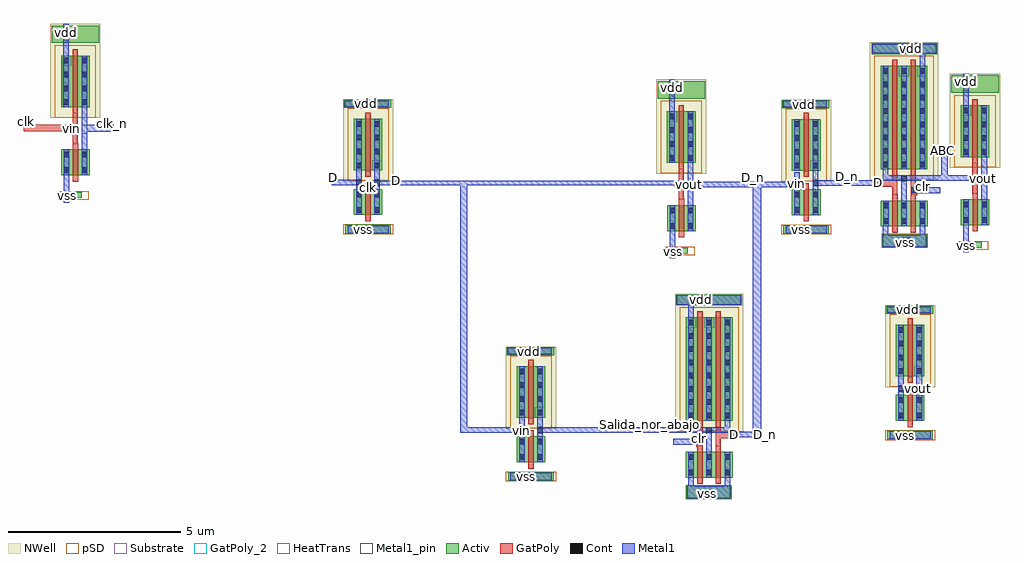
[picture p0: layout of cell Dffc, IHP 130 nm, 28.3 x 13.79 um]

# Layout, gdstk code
from math import pi, radians
import gdstk
lib = gdstk.Library(unit=1e-6, precision=1e-09)
def R(c, l, rs):  # rectangles x0, y0, x1, y1
    for r in rs: c.add(gdstk.rectangle(r[:2], r[2:], *l))
def A(c, l, x, y, w, h, nx, ny, dx, dy):  # array of equal rectangles
    R(c, l, [(x+i*dx, y+j*dy, x+i*dx+w, y+j*dy+h) for i in range(nx) for j in range(ny)])
def P(c, l, *ps):  # polygons
    for p in ps: c.add(gdstk.Polygon(p, *l))
Activ = (1, 0)
GatPoly = (5, 0)
GatPoly_2 = (5, 2)
Cont = (6, 0)
Metal1 = (8, 0)
Metal1_pin = (8, 2)
pSD = (14, 0)
NWell = (31, 0)
Substrate = (40, 0)
HeatTrans = (51, 0)

pmos_1_1 = lib.new_cell('pmos$1$1')
R(pmos_1_1, Activ, [(0,0,0.3,0.3), (0,0,0.83,3), (0.53,0,0.83,0.3)])
R(pmos_1_1, GatPoly, [(0.34,-0.18,0.49,3.18), (0.34,-0.18,0.49,3.18)])
A(pmos_1_1, Cont, 0.07, 0.07, 0.16, 0.16, 1, 7, 0, 0.385)
A(pmos_1_1, Cont, 0.6, 0.07, 0.16, 0.16, 1, 7, 0, 0.385)
R(pmos_1_1, Cont, [(0.07,2.77,0.23,2.93), (0.6,2.77,0.76,2.93)])
R(pmos_1_1, Metal1, [(0.07,0,0.23,3), (0.07,0,0.23,3), (0.6,0,0.76,3), (0.6,0,0.76,3)])
R(pmos_1_1, pSD, [(-0.18,-0.3,1.01,3.3)])
R(pmos_1_1, NWell, [(-0.31,-0.31,1.14,3.31)])
R(pmos_1_1, Substrate, [(0.53,0,0.83,0.3)])
R(pmos_1_1, HeatTrans, [(0.34,-0.18,0.49,3.18)])
pmos_1_1.add(gdstk.Label('pmos', (0.415,1.5), layer=63, texttype=0))
pmos_1_1.add(gdstk.Label('pmos', (0.415,1.5), layer=51, texttype=0))

nmos_1_1 = lib.new_cell('nmos$1$1')
R(nmos_1_1, Activ, [(0.002,0.22,0.302,0.52), (0.002,0.22,0.832,0.97), (0.532,0.22,0.832,0.52)])
R(nmos_1_1, GatPoly, [(0.342,0.04,0.492,1.15)])
R(nmos_1_1, GatPoly_2, [(0.342,0.04,0.492,1.15)])
R(nmos_1_1, Cont, [(0.072,0.29,0.232,0.45), (0.602,0.29,0.762,0.45), (0.072,0.74,0.232,0.9), (0.602,0.74,0.762,0.9)])
R(nmos_1_1, Metal1, [(0.072,0.22,0.232,0.97), (0.602,0.22,0.762,0.97)])
R(nmos_1_1, Metal1_pin, [(0.072,0.22,0.232,0.97), (0.602,0.22,0.762,0.97)])
R(nmos_1_1, HeatTrans, [(0.342,0.04,0.492,1.15)])
nmos_1_1.add(gdstk.Label('nmos', (0.417,0.595), layer=63, texttype=0))
nmos_1_1.add(gdstk.Label('nmos', (0.417,0.595), layer=51, texttype=0))

nmos_1_3 = lib.new_cell('nmos$1$3')
R(nmos_1_3, Activ, [(0,0,0.3,0.3), (0,0,0.83,0.75), (0.53,0,0.83,0.3)])
R(nmos_1_3, GatPoly, [(0.34,-0.18,0.49,0.93)])
R(nmos_1_3, GatPoly_2, [(0.34,-0.18,0.49,0.93)])
R(nmos_1_3, Cont, [(0.07,0.07,0.23,0.23), (0.6,0.07,0.76,0.23), (0.07,0.52,0.23,0.68), (0.6,0.52,0.76,0.68)])
R(nmos_1_3, Metal1, [(0.07,0,0.23,0.75), (0.6,0,0.76,0.75)])
R(nmos_1_3, Metal1_pin, [(0.07,0,0.23,0.75), (0.6,0,0.76,0.75)])
R(nmos_1_3, HeatTrans, [(0.34,-0.18,0.49,0.93)])
nmos_1_3.add(gdstk.Label('nmos', (0.415,0.375), layer=63, texttype=0))
nmos_1_3.add(gdstk.Label('nmos', (0.415,0.375), layer=51, texttype=0))

pmos_1_3 = lib.new_cell('pmos$1$3')
R(pmos_1_3, Activ, [(0,0,0.3,0.3), (0,0,0.83,1.5), (0.53,0,0.83,0.3)])
R(pmos_1_3, GatPoly, [(0.34,-0.18,0.49,1.68), (0.34,-0.18,0.49,1.68)])
A(pmos_1_3, Cont, 0.07, 0.07, 0.16, 0.16, 1, 4, 0, 0.4)
A(pmos_1_3, Cont, 0.6, 0.07, 0.16, 0.16, 1, 4, 0, 0.4)
R(pmos_1_3, Metal1, [(0.07,0,0.23,1.5), (0.07,0,0.23,1.5), (0.6,0,0.76,1.5), (0.6,0,0.76,1.5)])
R(pmos_1_3, pSD, [(-0.18,-0.3,1.01,1.8)])
R(pmos_1_3, NWell, [(-0.31,-0.31,1.14,1.81)])
R(pmos_1_3, Substrate, [(0.53,0,0.83,0.3)])
R(pmos_1_3, HeatTrans, [(0.34,-0.18,0.49,1.68)])
pmos_1_3.add(gdstk.Label('pmos', (0.415,0.75), layer=63, texttype=0))
pmos_1_3.add(gdstk.Label('pmos', (0.415,0.75), layer=51, texttype=0))

nmos_1_3_1 = lib.new_cell('nmos$1$3$1')
R(nmos_1_3_1, Activ, [(0,0,0.3,0.3), (0,0,0.83,0.75), (0.53,0,0.83,0.3)])
R(nmos_1_3_1, GatPoly, [(0.34,-0.18,0.49,0.93)])
R(nmos_1_3_1, GatPoly_2, [(0.34,-0.18,0.49,0.93)])
R(nmos_1_3_1, Cont, [(0.07,0.07,0.23,0.23), (0.6,0.07,0.76,0.23), (0.07,0.52,0.23,0.68), (0.6,0.52,0.76,0.68)])
R(nmos_1_3_1, Metal1, [(0.07,0,0.23,0.75), (0.6,0,0.76,0.75)])
R(nmos_1_3_1, Metal1_pin, [(0.07,0,0.23,0.75), (0.6,0,0.76,0.75)])
R(nmos_1_3_1, HeatTrans, [(0.34,-0.18,0.49,0.93)])
nmos_1_3_1.add(gdstk.Label('nmos', (0.415,0.375), layer=63, texttype=0))
nmos_1_3_1.add(gdstk.Label('nmos', (0.415,0.375), layer=51, texttype=0))

pmos_1_3_1 = lib.new_cell('pmos$1$3$1')
R(pmos_1_3_1, Activ, [(0,0,0.3,0.3), (0,0,0.83,1.5), (0.53,0,0.83,0.3)])
R(pmos_1_3_1, GatPoly, [(0.34,-0.18,0.49,1.68), (0.34,-0.18,0.49,1.68)])
A(pmos_1_3_1, Cont, 0.07, 0.07, 0.16, 0.16, 1, 4, 0, 0.4)
A(pmos_1_3_1, Cont, 0.6, 0.07, 0.16, 0.16, 1, 4, 0, 0.4)
R(pmos_1_3_1, Metal1, [(0.07,0,0.23,1.5), (0.07,0,0.23,1.5), (0.6,0,0.76,1.5), (0.6,0,0.76,1.5)])
R(pmos_1_3_1, pSD, [(-0.18,-0.3,1.01,1.8)])
R(pmos_1_3_1, NWell, [(-0.31,-0.31,1.14,1.81)])
R(pmos_1_3_1, Substrate, [(0.53,0,0.83,0.3)])
R(pmos_1_3_1, HeatTrans, [(0.34,-0.18,0.49,1.68)])
pmos_1_3_1.add(gdstk.Label('pmos', (0.415,0.75), layer=63, texttype=0))
pmos_1_3_1.add(gdstk.Label('pmos', (0.415,0.75), layer=51, texttype=0))

nmos_1_3_1_1 = lib.new_cell('nmos$1$3$1$1')
R(nmos_1_3_1_1, Activ, [(5.014,-1.666,5.314,-1.366), (5.014,-1.666,5.844,-0.916), (5.544,-1.666,5.844,-1.366)])
R(nmos_1_3_1_1, GatPoly, [(5.354,-1.846,5.504,-0.736)])
R(nmos_1_3_1_1, GatPoly_2, [(5.354,-1.846,5.504,-0.736)])
R(nmos_1_3_1_1, Cont, [(5.084,-1.596,5.244,-1.436), (5.614,-1.596,5.774,-1.436), (5.084,-1.146,5.244,-0.986), (5.614,-1.146,5.774,-0.986)])
R(nmos_1_3_1_1, Metal1, [(5.084,-1.666,5.244,-0.916), (5.614,-1.666,5.774,-0.916)])
R(nmos_1_3_1_1, Metal1_pin, [(5.084,-1.666,5.244,-0.916), (5.614,-1.666,5.774,-0.916)])
R(nmos_1_3_1_1, HeatTrans, [(5.354,-1.846,5.504,-0.736)])
nmos_1_3_1_1.add(gdstk.Label('nmos', (5.429,-1.291), layer=63, texttype=0))
nmos_1_3_1_1.add(gdstk.Label('nmos', (5.429,-1.291), layer=51, texttype=0))

pmos_1_3_1_1 = lib.new_cell('pmos$1$3$1$1')
R(pmos_1_3_1_1, Activ, [(5.014,-1.666,5.314,-1.366), (5.014,-1.666,5.844,-0.166), (5.544,-1.666,5.844,-1.366)])
R(pmos_1_3_1_1, GatPoly, [(5.354,-1.846,5.504,0.014), (5.354,-1.846,5.504,0.014)])
A(pmos_1_3_1_1, Cont, 5.084, -1.596, 0.16, 0.16, 1, 4, 0, 0.4)
A(pmos_1_3_1_1, Cont, 5.614, -1.596, 0.16, 0.16, 1, 4, 0, 0.4)
R(pmos_1_3_1_1, Metal1, [(5.084,-1.666,5.244,-0.166), (5.084,-1.666,5.244,-0.166), (5.614,-1.666,5.774,-0.166), (5.614,-1.666,5.774,-0.166)])
R(pmos_1_3_1_1, pSD, [(4.834,-1.966,6.024,0.134)])
R(pmos_1_3_1_1, NWell, [(4.704,-1.976,6.154,0.144)])
R(pmos_1_3_1_1, Substrate, [(5.544,-1.666,5.844,-1.366)])
R(pmos_1_3_1_1, HeatTrans, [(5.354,-1.846,5.504,0.014)])
pmos_1_3_1_1.add(gdstk.Label('pmos', (5.429,-0.916), layer=63, texttype=0))
pmos_1_3_1_1.add(gdstk.Label('pmos', (5.429,-0.916), layer=51, texttype=0))

nmos_3_1_1 = lib.new_cell('nmos$3$1$1')
R(nmos_3_1_1, Activ, [(0.576,-19.215,0.876,-18.915), (0.576,-19.215,1.406,-18.465), (1.106,-19.215,1.406,-18.915)])
R(nmos_3_1_1, GatPoly, [(0.916,-19.395,1.066,-18.285)])
R(nmos_3_1_1, GatPoly_2, [(0.916,-19.395,1.066,-18.285)])
R(nmos_3_1_1, Cont, [(0.646,-19.145,0.806,-18.985), (1.176,-19.145,1.336,-18.985), (0.646,-18.695,0.806,-18.535), (1.176,-18.695,1.336,-18.535)])
R(nmos_3_1_1, Metal1, [(0.646,-19.215,0.806,-18.465), (1.176,-19.215,1.336,-18.465)])
R(nmos_3_1_1, Metal1_pin, [(0.646,-19.215,0.806,-18.465), (1.176,-19.215,1.336,-18.465)])
R(nmos_3_1_1, HeatTrans, [(0.916,-19.395,1.066,-18.285)])
nmos_3_1_1.add(gdstk.Label('nmos', (0.991,-18.84), layer=63, texttype=0))
nmos_3_1_1.add(gdstk.Label('nmos', (0.991,-18.84), layer=51, texttype=0))

pmos_3_1_1 = lib.new_cell('pmos$3$1$1')
R(pmos_3_1_1, Activ, [(0.576,-19.215,0.876,-18.915), (0.576,-19.215,1.406,-17.715), (1.106,-19.215,1.406,-18.915)])
R(pmos_3_1_1, GatPoly, [(0.916,-19.395,1.066,-17.535), (0.916,-19.395,1.066,-17.535)])
A(pmos_3_1_1, Cont, 0.646, -19.145, 0.16, 0.16, 1, 4, 0, 0.4)
A(pmos_3_1_1, Cont, 1.176, -19.145, 0.16, 0.16, 1, 4, 0, 0.4)
R(pmos_3_1_1, Metal1, [(0.646,-19.215,0.806,-17.715), (0.646,-19.215,0.806,-17.715), (1.176,-19.215,1.336,-17.715), (1.176,-19.215,1.336,-17.715)])
R(pmos_3_1_1, pSD, [(0.396,-19.515,1.586,-17.415)])
R(pmos_3_1_1, NWell, [(0.266,-19.525,1.716,-17.405)])
R(pmos_3_1_1, Substrate, [(1.106,-19.215,1.406,-18.915)])
R(pmos_3_1_1, HeatTrans, [(0.916,-19.395,1.066,-17.535)])
pmos_3_1_1.add(gdstk.Label('pmos', (0.991,-18.465), layer=63, texttype=0))
pmos_3_1_1.add(gdstk.Label('pmos', (0.991,-18.465), layer=51, texttype=0))

nmos_3_1_1_1 = lib.new_cell('nmos$3$1$1$1')
R(nmos_3_1_1_1, Activ, [(-6.16,-0.009,-5.86,0.291), (-6.16,-0.009,-5.33,0.741), (-5.63,-0.009,-5.33,0.291)])
R(nmos_3_1_1_1, GatPoly, [(-5.82,-0.189,-5.67,0.921)])
R(nmos_3_1_1_1, GatPoly_2, [(-5.82,-0.189,-5.67,0.921)])
R(nmos_3_1_1_1, Cont, [(-6.09,0.061,-5.93,0.221), (-5.56,0.061,-5.4,0.221), (-6.09,0.511,-5.93,0.671), (-5.56,0.511,-5.4,0.671)])
R(nmos_3_1_1_1, Metal1, [(-6.09,-0.009,-5.93,0.741), (-5.56,-0.009,-5.4,0.741)])
R(nmos_3_1_1_1, Metal1_pin, [(-6.09,-0.009,-5.93,0.741), (-5.56,-0.009,-5.4,0.741)])
R(nmos_3_1_1_1, HeatTrans, [(-5.82,-0.189,-5.67,0.921)])
nmos_3_1_1_1.add(gdstk.Label('nmos', (-5.745,0.366), layer=63, texttype=0))
nmos_3_1_1_1.add(gdstk.Label('nmos', (-5.745,0.366), layer=51, texttype=0))

pmos_3_1_1_1 = lib.new_cell('pmos$3$1$1$1')
R(pmos_3_1_1_1, Activ, [(-6.16,-0.009,-5.86,0.291), (-6.16,-0.009,-5.33,1.491), (-5.63,-0.009,-5.33,0.291)])
R(pmos_3_1_1_1, GatPoly, [(-5.82,-0.189,-5.67,1.671), (-5.82,-0.189,-5.67,1.671)])
A(pmos_3_1_1_1, Cont, -6.09, 0.061, 0.16, 0.16, 1, 4, 0, 0.4)
A(pmos_3_1_1_1, Cont, -5.56, 0.061, 0.16, 0.16, 1, 4, 0, 0.4)
R(pmos_3_1_1_1, Metal1, [(-6.09,-0.009,-5.93,1.491), (-6.09,-0.009,-5.93,1.491), (-5.56,-0.009,-5.4,1.491), (-5.56,-0.009,-5.4,1.491)])
R(pmos_3_1_1_1, pSD, [(-6.34,-0.309,-5.15,1.791)])
R(pmos_3_1_1_1, NWell, [(-6.47,-0.319,-5.02,1.801)])
R(pmos_3_1_1_1, Substrate, [(-5.63,-0.009,-5.33,0.291)])
R(pmos_3_1_1_1, HeatTrans, [(-5.82,-0.189,-5.67,1.671)])
pmos_3_1_1_1.add(gdstk.Label('pmos', (-5.745,0.741), layer=63, texttype=0))
pmos_3_1_1_1.add(gdstk.Label('pmos', (-5.745,0.741), layer=51, texttype=0))

pmos_3 = lib.new_cell('pmos$3')
R(pmos_3, Activ, [(0,0,0.3,0.3), (0,0,0.83,1.5), (0.53,0,0.83,0.3)])
R(pmos_3, GatPoly, [(0.34,-0.18,0.49,1.68), (0.34,-0.18,0.49,1.68)])
A(pmos_3, Cont, 0.07, 0.07, 0.16, 0.16, 1, 4, 0, 0.4)
A(pmos_3, Cont, 0.6, 0.07, 0.16, 0.16, 1, 4, 0, 0.4)
R(pmos_3, Metal1, [(0.07,0,0.23,1.5), (0.07,0,0.23,1.5), (0.6,0,0.76,1.5), (0.6,0,0.76,1.5)])
R(pmos_3, pSD, [(-0.18,-0.3,1.01,1.8)])
R(pmos_3, NWell, [(-0.31,-0.31,1.14,1.81)])
R(pmos_3, Substrate, [(0.53,0,0.83,0.3)])
R(pmos_3, HeatTrans, [(0.34,-0.18,0.49,1.68)])
pmos_3.add(gdstk.Label('pmos', (0.415,0.75), layer=63, texttype=0))
pmos_3.add(gdstk.Label('pmos', (0.415,0.75), layer=51, texttype=0))

nmos_3 = lib.new_cell('nmos$3')
R(nmos_3, Activ, [(0,0,0.3,0.3), (0,0,0.83,0.75), (0.53,0,0.83,0.3)])
R(nmos_3, GatPoly, [(0.34,-0.18,0.49,0.93)])
R(nmos_3, GatPoly_2, [(0.34,-0.18,0.49,0.93)])
R(nmos_3, Cont, [(0.07,0.07,0.23,0.23), (0.6,0.07,0.76,0.23), (0.07,0.52,0.23,0.68), (0.6,0.52,0.76,0.68)])
R(nmos_3, Metal1, [(0.07,0,0.23,0.75), (0.6,0,0.76,0.75)])
R(nmos_3, Metal1_pin, [(0.07,0,0.23,0.75), (0.6,0,0.76,0.75)])
R(nmos_3, HeatTrans, [(0.34,-0.18,0.49,0.93)])
nmos_3.add(gdstk.Label('nmos', (0.415,0.375), layer=63, texttype=0))
nmos_3.add(gdstk.Label('nmos', (0.415,0.375), layer=51, texttype=0))

pmos_3_1 = lib.new_cell('pmos$3$1')
R(pmos_3_1, Activ, [(-10.251,-14.771,-9.951,-14.471), (-10.251,-14.771,-9.421,-13.271), (-9.721,-14.771,-9.421,-14.471)])
R(pmos_3_1, GatPoly, [(-9.911,-14.951,-9.761,-13.091), (-9.911,-14.951,-9.761,-13.091)])
A(pmos_3_1, Cont, -10.181, -14.701, 0.16, 0.16, 1, 4, 0, 0.4)
A(pmos_3_1, Cont, -9.651, -14.701, 0.16, 0.16, 1, 4, 0, 0.4)
R(pmos_3_1, Metal1, [(-10.181,-14.771,-10.021,-13.271), (-10.181,-14.771,-10.021,-13.271), (-9.651,-14.771,-9.491,-13.271), (-9.651,-14.771,-9.491,-13.271)])
R(pmos_3_1, pSD, [(-10.431,-15.071,-9.241,-12.971)])
R(pmos_3_1, NWell, [(-10.561,-15.081,-9.111,-12.961)])
R(pmos_3_1, Substrate, [(-9.721,-14.771,-9.421,-14.471)])
R(pmos_3_1, HeatTrans, [(-9.911,-14.951,-9.761,-13.091)])
pmos_3_1.add(gdstk.Label('pmos', (-9.836,-14.021), layer=63, texttype=0))
pmos_3_1.add(gdstk.Label('pmos', (-9.836,-14.021), layer=51, texttype=0))

nmos_3_1 = lib.new_cell('nmos$3$1')
R(nmos_3_1, Activ, [(-10.251,-14.771,-9.951,-14.471), (-10.251,-14.771,-9.421,-14.021), (-9.721,-14.771,-9.421,-14.471)])
R(nmos_3_1, GatPoly, [(-9.911,-14.951,-9.761,-13.841)])
R(nmos_3_1, GatPoly_2, [(-9.911,-14.951,-9.761,-13.841)])
R(nmos_3_1, Cont, [(-10.181,-14.701,-10.021,-14.541), (-9.651,-14.701,-9.491,-14.541), (-10.181,-14.251,-10.021,-14.091), (-9.651,-14.251,-9.491,-14.091)])
R(nmos_3_1, Metal1, [(-10.181,-14.771,-10.021,-14.021), (-9.651,-14.771,-9.491,-14.021)])
R(nmos_3_1, Metal1_pin, [(-10.181,-14.771,-10.021,-14.021), (-9.651,-14.771,-9.491,-14.021)])
R(nmos_3_1, HeatTrans, [(-9.911,-14.951,-9.761,-13.841)])
nmos_3_1.add(gdstk.Label('nmos', (-9.836,-14.396), layer=63, texttype=0))
nmos_3_1.add(gdstk.Label('nmos', (-9.836,-14.396), layer=51, texttype=0))

nmos_1_1_1 = lib.new_cell('nmos$1$1$1')

pmos_1_1_1 = lib.new_cell('pmos$1$1$1')

nmos_1_1_3 = lib.new_cell('nmos$1$1$3')
R(nmos_1_1_3, Activ, [(0.002,0.22,0.302,0.52), (0.002,0.22,0.832,0.97), (0.532,0.22,0.832,0.52)])
R(nmos_1_1_3, GatPoly, [(0.342,0.04,0.492,1.15)])
R(nmos_1_1_3, GatPoly_2, [(0.342,0.04,0.492,1.15)])
R(nmos_1_1_3, Cont, [(0.072,0.29,0.232,0.45), (0.602,0.29,0.762,0.45), (0.072,0.74,0.232,0.9), (0.602,0.74,0.762,0.9)])
R(nmos_1_1_3, Metal1, [(0.072,0.22,0.232,0.97), (0.602,0.22,0.762,0.97)])
R(nmos_1_1_3, Metal1_pin, [(0.072,0.22,0.232,0.97), (0.602,0.22,0.762,0.97)])
R(nmos_1_1_3, HeatTrans, [(0.342,0.04,0.492,1.15)])
nmos_1_1_3.add(gdstk.Label('nmos', (0.417,0.595), layer=63, texttype=0))
nmos_1_1_3.add(gdstk.Label('nmos', (0.417,0.595), layer=51, texttype=0))

pmos_1_1_3 = lib.new_cell('pmos$1$1$3')
R(pmos_1_1_3, Activ, [(0,0,0.3,0.3), (0,0,0.83,3), (0.53,0,0.83,0.3)])
R(pmos_1_1_3, GatPoly, [(0.34,-0.18,0.49,3.18), (0.34,-0.18,0.49,3.18)])
A(pmos_1_1_3, Cont, 0.07, 0.07, 0.16, 0.16, 1, 7, 0, 0.385)
A(pmos_1_1_3, Cont, 0.6, 0.07, 0.16, 0.16, 1, 7, 0, 0.385)
R(pmos_1_1_3, Cont, [(0.07,2.77,0.23,2.93), (0.6,2.77,0.76,2.93)])
R(pmos_1_1_3, Metal1, [(0.07,0,0.23,3), (0.07,0,0.23,3), (0.6,0,0.76,3), (0.6,0,0.76,3)])
R(pmos_1_1_3, pSD, [(-0.18,-0.3,1.01,3.3)])
R(pmos_1_1_3, NWell, [(-0.31,-0.31,1.14,3.31)])
R(pmos_1_1_3, Substrate, [(0.53,0,0.83,0.3)])
R(pmos_1_1_3, HeatTrans, [(0.34,-0.18,0.49,3.18)])
pmos_1_1_3.add(gdstk.Label('pmos', (0.415,1.5), layer=63, texttype=0))
pmos_1_1_3.add(gdstk.Label('pmos', (0.415,1.5), layer=51, texttype=0))

dffc = lib.new_cell('Dffc')
R(dffc, Activ, [(-4.16,-3.948,-2.875,-3.583), (-9.327,-3.438,-8.012,-3.183), (1.665,-2.236,2.98,-1.981), (-9.367,0.212,-7.992,0.442), (1.625,1.414,3,1.644), (-4.461,1.649,-2.561,1.964), (-4.754,3.152,-4.119,3.322), (3.761,3.321,4.396,3.491), (1.522,3.341,2.807,3.706), (-1.348,3.725,-0.033,3.98), (-14.051,3.733,-12.736,3.988), (-22.323,4.767,-21.688,4.937), (-1.388,7.375,-0.013,7.605), (-14.091,7.383,-12.716,7.613), (-4.999,7.647,-3.614,8.152), (3.516,7.816,4.901,8.321), (1.208,8.938,3.108,9.253), (-22.568,9.262,-21.183,9.767)])
R(dffc, GatPoly, [(-4.384,4.712,-4.234,5.602), (4.131,4.881,4.281,5.771), (-4.494,5.092,-4.324,5.262), (4.021,5.261,4.191,5.431)])
P(dffc, GatPoly, [(2.339,4.848),(2.339,4.868),(2.338,4.868),(2.338,5.413),(2.488,5.413),(2.488,5.283),(2.493,5.283),(2.493,5.096),(2.528,5.096),(2.528,4.848)],
  [(1.809,4.861),(1.809,5.093),(1.338,5.093),(1.338,5.283),(1.808,5.283),(1.808,5.413),(1.958,5.413),(1.958,5.111),(1.959,5.111),(1.959,4.861)],
  [(-21.953,6.327),(-21.953,6.704),(-23.367,6.704),(-23.367,6.894),(-21.953,6.894),(-21.953,7.217),(-21.803,7.217),(-21.803,6.327)],
  [(-3.312,-2.428),(-3.312,-2.178),(-3.311,-2.178),(-3.311,-1.876),(-3.161,-1.876),(-3.161,-2.006),(-2.691,-2.006),(-2.691,-2.196),(-3.162,-2.196),(-3.162,-2.428)],
  [(-3.881,-2.441),(-3.881,-2.193),(-3.846,-2.193),(-3.846,-2.006),(-3.841,-2.006),(-3.841,-1.876),(-3.691,-1.876),(-3.691,-2.421),(-3.692,-2.421),(-3.692,-2.441)])
R(dffc, GatPoly_2, [(-3.876,-2.421,-3.695,-2.198), (-2.862,-2.176,-2.702,-2.016), (-8.742,-2.118,-8.592,-1.973), (-8.742,-1.788,-8.592,-1.623), (2.25,-0.916,2.4,-0.771), (2.25,-0.586,2.4,-0.421), (2.342,4.868,2.523,5.091), (-0.763,5.045,-0.613,5.19), (-13.466,5.053,-13.316,5.198), (1.344,5.113,1.504,5.273), (-0.763,5.375,-0.613,5.54), (-13.466,5.383,-13.316,5.548)])
R(dffc, Cont, [(-3.675,-3.888,-3.465,-3.683), (-8.882,-3.393,-8.717,-3.233), (-3.867,-2.378,-3.707,-2.218), (2.11,-2.191,2.275,-2.031), (-2.862,-2.176,-2.702,-2.016), (-9.012,-2.038,-8.852,-1.878), (-8.482,-2.038,-8.322,-1.878), (-3.581,-2.036,-3.421,-1.876), (1.98,-0.836,2.14,-0.676), (2.51,-0.836,2.67,-0.676), (-8.802,0.247,-8.642,0.407), (2.19,1.449,2.35,1.609), (-3.786,1.744,-3.626,1.904), (-4.644,3.152,-4.484,3.312), (3.871,3.321,4.031,3.481), (2.112,3.401,2.322,3.606), (-0.903,3.77,-0.738,3.93), (-13.606,3.778,-13.441,3.938), (-22.213,4.767,-22.053,4.927), (2.354,4.911,2.514,5.071), (-4.484,5.097,-4.324,5.257), (1.345,5.115,1.505,5.275), (-1.033,5.125,-0.873,5.285), (-0.503,5.125,-0.343,5.285), (-13.736,5.133,-13.576,5.293), (-13.206,5.133,-13.046,5.293), (2.068,5.253,2.228,5.413), (4.031,5.266,4.191,5.426), (-22.053,6.712,-21.893,6.872), (-0.823,7.41,-0.663,7.57), (-13.526,7.418,-13.366,7.578), (-4.654,7.827,-4.494,7.987), (3.861,7.996,4.021,8.156), (2.273,9.033,2.433,9.193), (-22.223,9.442,-22.063,9.602)])
R(dffc, Metal1, [(-9.262,-3.423,-8.072,-3.203), (-4.549,-2.387,-3.706,-2.217), (1.73,-2.221,2.92,-2.001), (-8.482,-2.163,-8.322,-1.593), (1.98,-0.971,2.14,-0.406), (2.51,-0.961,2.67,-0.391), (-9.337,0.237,-8.072,0.417), (1.655,1.439,2.92,1.619), (-4.649,3.017,-4.489,3.807), (3.866,3.186,4.026,3.976), (-1.283,3.74,-0.093,3.96), (-13.986,3.748,-12.796,3.968), (-22.218,4.632,-22.058,5.422), (4.391,4.701,4.556,5.951), (2.353,4.902,3.196,5.072), (-4.489,5.092,-4.319,5.262), (-22.058,6.707,-21.888,6.877), (-4.654,7.282,-4.494,8.197), (-1.358,7.4,-0.093,7.58), (-14.061,7.408,-12.796,7.588), (3.861,7.451,4.021,8.366), (-22.223,8.897,-22.063,9.812)])
P(dffc, Metal1, [(2.064,4.667),(2.064,5.266),(1.534,5.266),(1.534,5.641),(1.694,5.641),(1.694,5.427),(2.101,5.427),(2.101,5.426),(3.226,5.426),(3.226,6.056),(3.413,6.056),(3.413,5.426),(4.026,5.426),(4.026,5.431),(4.196,5.431),(4.196,5.261),(4.026,5.261),(4.026,5.266),(2.226,5.266),(2.226,4.667)],
  [(-0.503,4.99),(-0.503,5.56),(-0.343,5.56),(-0.343,5.275),(1.506,5.275),(1.506,5.114),(0.73,5.114),(-0.343,5.114),(-0.343,4.99)],
  [(2.598,8.593),(2.598,8.958),(1.228,8.958),(1.228,9.228),(3.088,9.228),(3.088,8.958),(2.758,8.958),(2.758,8.593)],
  [(1.537,3.356),(1.537,3.956),(1.697,3.956),(1.697,3.691),(2.597,3.691),(2.597,3.956),(2.757,3.956),(2.757,3.691),(2.787,3.691),(2.787,3.356)],
  [(-3.581,-2.614),(-3.581,-2.036),(-8.482,-2.036),(-8.482,-1.876),(-3.051,-1.876),(-3.051,-1.696),(-2.891,-1.696),(-2.891,-2.036),(-3.421,-2.036),(-3.421,-2.614)],
  [(-9.012,-2.173),(-9.012,-2.042),(-10.722,-2.042),(-10.722,5.131),(-13.046,5.131),(-13.046,4.977),(-13.206,4.977),(-13.206,5.602),(-13.046,5.602),(-13.046,5.262),(-4.319,5.262),(-4.319,5.131),(-10.511,5.131),(-10.511,-1.877),(-9.012,-1.877),(-9.012,-1.608),(-8.852,-1.608),(-8.852,-2.173)],
  [(-21.693,6.147),(-21.693,7.397),(-21.528,7.397),(-21.528,6.887),(-20.767,6.887),(-20.767,6.685),(-21.528,6.685),(-21.528,6.147)],
  [(-13.736,4.998),(-13.736,5.133),(-14.441,5.133),(-14.441,5.292),(-13.736,5.292),(-13.736,5.563),(-13.576,5.563),(-13.576,4.998)],
  [(-4.14,-3.933),(-4.14,-3.598),(-4.11,-3.598),(-4.11,-3.333),(-3.95,-3.333),(-3.95,-3.598),(-3.05,-3.598),(-3.05,-3.333),(-2.89,-3.333),(-2.89,-3.933)],
  [(-2.862,-2.176),(-2.862,-2.016),(-2.235,-2.016),(-2.235,5.083),(-3.959,5.083),(-3.959,4.532),(-4.124,4.532),(-4.124,5.782),(-3.959,5.782),(-3.959,5.244),(-1.033,5.244),(-1.033,5.515),(-0.873,5.515),(-0.873,4.95),(-1.033,4.95),(-1.033,5.083),(-1.988,5.083),(-1.988,-2.176)],
  [(-4.111,1.304),(-4.111,1.669),(-4.441,1.669),(-4.441,1.939),(-2.581,1.939),(-2.581,1.669),(-3.951,1.669),(-3.951,1.304)],
  [(-4.649,3.807),(-4.649,3.807),(-4.489,3.807),(-4.489,3.807)],
  [(3.866,3.976),(3.866,3.976),(4.026,3.976),(4.026,3.976)],
  [(-22.218,5.422),(-22.218,5.422),(-22.058,5.422),(-22.058,5.422)])
R(dffc, Metal1_pin, [(-3.675,-3.888,-3.465,-3.683), (-8.882,-3.393,-8.717,-3.233), (2.11,-2.191,2.275,-2.031), (-9.012,-2.073,-8.852,-1.863), (-8.482,-2.063,-8.322,-1.863), (-3.581,-2.036,-3.421,-1.876), (1.98,-0.871,2.14,-0.661), (2.51,-0.861,2.67,-0.661), (-8.802,0.247,-8.642,0.407), (2.19,1.449,2.35,1.609), (-3.786,1.749,-3.626,1.904), (-4.649,3.147,-4.489,3.322), (3.866,3.316,4.026,3.491), (2.112,3.401,2.322,3.606), (-0.903,3.77,-0.738,3.93), (-13.606,3.778,-13.441,3.938), (-22.218,4.762,-22.058,4.937), (-4.124,5.017,-3.959,5.272), (-1.033,5.09,-0.873,5.3), (-13.736,5.098,-13.576,5.308), (-0.503,5.1,-0.343,5.3), (-13.206,5.108,-13.046,5.308), (4.391,5.186,4.556,5.441), (2.068,5.253,2.228,5.413), (-21.693,6.632,-21.528,6.887), (-0.823,7.41,-0.663,7.57), (-13.526,7.418,-13.366,7.578), (-4.654,7.712,-4.494,8.117), (3.861,7.881,4.021,8.286), (2.273,9.038,2.433,9.193), (-22.223,9.327,-22.063,9.732)])
R(dffc, pSD, [(-4.185,-3.968,-2.85,-3.563), (-9.392,-3.453,-7.942,-3.173), (1.6,-2.251,3.05,-1.971), (-4.779,3.102,-3.919,3.347), (3.736,3.271,4.596,3.516), (1.497,3.321,2.832,3.726), (-1.413,3.71,0.037,3.99), (-14.116,3.718,-12.666,3.998), (-22.348,4.717,-21.488,4.962)])
R(dffc, NWell, [(-9.392,0.202,-7.942,0.457), (1.6,1.404,3.05,1.659), (-4.491,1.614,-2.511,1.989), (-1.413,7.365,0.037,7.62), (-14.116,7.373,-12.666,7.628), (-5.034,7.592,-3.584,8.202), (3.481,7.761,4.931,8.371), (1.158,8.903,3.138,9.278), (-22.603,9.207,-21.153,9.817)])
dffc.add(gdstk.Reference(pmos_1_1, (-2.821,1.304), rotation=pi))
dffc.add(gdstk.Reference(nmos_1_1, (-2.821,-2.376), rotation=pi))
dffc.add(gdstk.Reference(pmos_1_1, (-3.351,1.304), rotation=pi))
dffc.add(gdstk.Reference(nmos_1_3, (-3.889,4.557), rotation=pi))
dffc.add(gdstk.Reference(pmos_1_3, (-3.894,7.282), rotation=pi))
dffc.add(gdstk.Reference(nmos_1_3_1, (4.626,4.726), rotation=pi))
dffc.add(gdstk.Reference(pmos_1_3_1, (4.621,7.451), rotation=pi))
dffc.add(gdstk.Reference(nmos_1_3_1_1, (-16.444,4.506), rotation=pi))
dffc.add(gdstk.Reference(pmos_1_3_1_1, (-16.449,7.231), rotation=pi))
dffc.add(gdstk.Reference(nmos_3_1_1, (1.334,17.519)))
dffc.add(gdstk.Reference(pmos_3_1_1, (1.334,18.809)))
dffc.add(gdstk.Reference(nmos_3_1_1_1, (-7.646,4.282)))
dffc.add(gdstk.Reference(pmos_3_1_1_1, (-7.646,5.572)))
dffc.add(gdstk.Reference(pmos_3, (-1.103,5.555)))
dffc.add(gdstk.Reference(nmos_3, (-1.103,4.265)))
dffc.add(gdstk.Reference(nmos_1_1, (-3.351,-2.376), rotation=pi))
dffc.add(gdstk.Reference(pmos_3_1, (1.169,13.163)))
dffc.add(gdstk.Reference(nmos_3_1, (1.169,11.873)))
dffc.add(gdstk.Reference(nmos_1_1_1, (0.714,4.402), x_reflection=True))
dffc.add(gdstk.Reference(pmos_1_1_1, (0.714,8.082), x_reflection=True))
dffc.add(gdstk.Reference(nmos_1_1_3, (1.998,4.913), x_reflection=True))
dffc.add(gdstk.Reference(pmos_1_1_3, (1.998,8.593), x_reflection=True))
dffc.add(gdstk.Reference(nmos_1_1_3, (1.468,4.913), x_reflection=True))
dffc.add(gdstk.Reference(pmos_1_1_3, (1.468,8.593), x_reflection=True))
dffc.add(gdstk.Label('clr', (2.72,5.099), layer=63, texttype=0))
dffc.add(gdstk.Label('Salida_nor_abajo', (3.87,5.497), layer=63, texttype=0))
dffc.add(gdstk.Label('ABC', (3.25,6.135), layer=63, texttype=0))
dffc.add(gdstk.Label('D', (-14.392,5.347), layer=63, texttype=0))
dffc.add(gdstk.Label('D', (-12.581,5.286), layer=63, texttype=0))
dffc.add(gdstk.Label('clk', (-13.378,5.078), layer=63, texttype=0))
dffc.add(gdstk.Label('clk_n', (-13.388,5.436), layer=63, texttype=0))
dffc.add(gdstk.Label('clk', (-23.293,6.991), layer=63, texttype=0))
dffc.add(gdstk.Label('clk_n', (-20.807,6.921), layer=63, texttype=0))
dffc.add(gdstk.Label('Salida_nor_abajo', (-5.223,-1.797), layer=63, texttype=0))
dffc.add(gdstk.Label('D_n', (-1.861,-2.092), layer=63, texttype=0))
dffc.add(gdstk.Label('clr', (-4.073,-2.19), layer=63, texttype=0))
dffc.add(gdstk.Label('D_n', (-2.225,5.36), layer=63, texttype=0))
dffc.add(gdstk.Label('D_n', (0.507,5.396), layer=63, texttype=0))
dffc.add(gdstk.Label('vout', (2.58,-0.766), layer=8, texttype=2))
dffc.add(gdstk.Label('vin', (2.05,-0.781), layer=8, texttype=2))
dffc.add(gdstk.Label('vss', (2.2,-2.111), layer=8, texttype=2))
dffc.add(gdstk.Label('vdd', (2.28,1.529), layer=8, texttype=2))
dffc.add(gdstk.Label('vdd', (2.363,9.108), layer=8, texttype=2))
dffc.add(gdstk.Label('out', (2.168,5.283), layer=8, texttype=2))
dffc.add(gdstk.Label('vss', (2.202,3.476), layer=8, texttype=2))
dffc.add(gdstk.Label('vout', (-13.136,5.203), layer=8, texttype=2))
dffc.add(gdstk.Label('vin', (-13.666,5.188), layer=8, texttype=2))
dffc.add(gdstk.Label('vss', (-13.516,3.858), layer=8, texttype=2))
dffc.add(gdstk.Label('vdd', (-13.436,7.498), layer=8, texttype=2))
dffc.add(gdstk.Label('vdd', (-8.712,0.327), layer=8, texttype=2))
dffc.add(gdstk.Label('vss', (-8.792,-3.313), layer=8, texttype=2))
dffc.add(gdstk.Label('vin', (-8.942,-1.983), layer=8, texttype=2))
dffc.add(gdstk.Label('vout', (-8.412,-1.968), layer=8, texttype=2))
dffc.add(gdstk.Label('vout', (-21.643,6.767), layer=8, texttype=2))
dffc.add(gdstk.Label('vss', (-22.113,4.842), layer=8, texttype=2))
dffc.add(gdstk.Label('vdd', (-22.138,9.577), layer=8, texttype=2))
dffc.add(gdstk.Label('vss', (-3.555,-3.813), layer=8, texttype=2))
dffc.add(gdstk.Label('vout', (4.441,5.321), layer=8, texttype=2))
dffc.add(gdstk.Label('vss', (3.971,3.396), layer=8, texttype=2))
dffc.add(gdstk.Label('vdd', (3.946,8.131), layer=8, texttype=2))
dffc.add(gdstk.Label('out', (-3.521,-2.006), layer=8, texttype=2))
dffc.add(gdstk.Label('vdd', (-3.716,1.819), layer=8, texttype=2))
dffc.add(gdstk.Label('vout', (-4.074,5.152), layer=8, texttype=2))
dffc.add(gdstk.Label('vss', (-4.544,3.227), layer=8, texttype=2))
dffc.add(gdstk.Label('vdd', (-4.569,7.962), layer=8, texttype=2))
dffc.add(gdstk.Label('vdd', (-0.733,7.49), layer=8, texttype=2))
dffc.add(gdstk.Label('vss', (-0.813,3.85), layer=8, texttype=2))
dffc.add(gdstk.Label('vin', (-0.963,5.18), layer=8, texttype=2))
dffc.add(gdstk.Label('vout', (-0.433,5.195), layer=8, texttype=2))
dffc.add(gdstk.Label('Entrada_N', (2.35,-0.841), layer=5, texttype=2))
dffc.add(gdstk.Label('Entrada_P', (2.315,-0.491), layer=5, texttype=2))
dffc.add(gdstk.Label('D', (1.408,5.208), layer=5, texttype=2))
dffc.add(gdstk.Label('clr', (2.431,5.074), layer=5, texttype=2))
dffc.add(gdstk.Label('Entrada_N', (-13.366,5.128), layer=5, texttype=2))
dffc.add(gdstk.Label('Entrada_P', (-13.401,5.478), layer=5, texttype=2))
dffc.add(gdstk.Label('Entrada_P', (-8.677,-1.693), layer=5, texttype=2))
dffc.add(gdstk.Label('Entrada_N', (-8.642,-2.043), layer=5, texttype=2))
dffc.add(gdstk.Label('vin', (-21.978,6.782), layer=5, texttype=2))
dffc.add(gdstk.Label('clr', (-3.784,-2.215), layer=5, texttype=2))
dffc.add(gdstk.Label('vin', (4.106,5.336), layer=5, texttype=2))
dffc.add(gdstk.Label('D', (-2.761,-2.081), layer=5, texttype=2))
dffc.add(gdstk.Label('vin', (-4.409,5.167), layer=5, texttype=2))
dffc.add(gdstk.Label('Entrada_P', (-0.698,5.47), layer=5, texttype=2))
dffc.add(gdstk.Label('Entrada_N', (-0.663,5.12), layer=5, texttype=2))

lib.write_gds('Dffc.gds')
